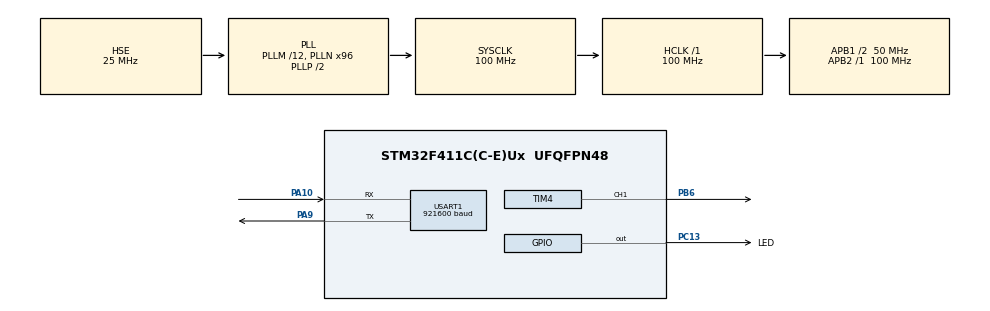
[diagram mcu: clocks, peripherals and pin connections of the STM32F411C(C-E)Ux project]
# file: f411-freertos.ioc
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Dma.Request0=TIM4_CH1
Dma.TIM4_CH1.0.Direction=DMA_PERIPH_TO_MEMORY
Dma.TIM4_CH1.0.FIFOMode=DMA_FIFOMODE_DISABLE
Dma.TIM4_CH1.0.Instance=DMA1_Stream0
Dma.TIM4_CH1.0.MemDataAlignment=DMA_MDATAALIGN_HALFWORD
Dma.TIM4_CH1.0.MemInc=DMA_MINC_ENABLE
Dma.TIM4_CH1.0.Mode=DMA_CIRCULAR
Dma.TIM4_CH1.0.PeriphDataAlignment=DMA_PDATAALIGN_HALFWORD
Dma.TIM4_CH1.0.PeriphInc=DMA_PINC_DISABLE
Dma.TIM4_CH1.0.Priority=DMA_PRIORITY_LOW
FREERTOS.Queues01=logQueue,16,uint132_t,0,Dynamic,NULL,NULL
FREERTOS.Tasks01=defaultTask,24,128,StartDefaultTask,Default,NULL,Dynamic,NULL,NULL;ledTask,8,128,StartLedTask,Default,NULL,Dynamic,NULL,NULL;logTask,8,128,StartLogTask,Default,NULL,Dynamic,NULL,NULL
FREERTOS.configGENERATE_RUN_TIME_STATS=1
FREERTOS.configRECORD_STACK_HIGH_ADDRESS=1
FREERTOS.configUSE_NEWLIB_REENTRANT=1
Mcu.Family=STM32F4
Mcu.Name=STM32F411C(C-E)Ux
Mcu.Package=UFQFPN48
Mcu.UserConstants=LED_CNT,125
NVIC.DMA1_Stream0_IRQn=true\:5\:0\:false\:false\:true\:true\:false\:true\:true
NVIC.PriorityGroup=NVIC_PRIORITYGROUP_4
NVIC.TIM1_TRG_COM_TIM11_IRQn=true\:15\:0\:false\:false\:true\:false\:false\:true\:true
NVIC.TimeBase=TIM1_TRG_COM_TIM11_IRQn
NVIC.TimeBaseIP=TIM11
PA10.Mode=Asynchronous
PA10.Signal=USART1_RX
PA13.Mode=Trace_Asynchronous_SW
PA13.Signal=SYS_JTMS-SWDIO
PA14.Mode=Trace_Asynchronous_SW
PA14.Signal=SYS_JTCK-SWCLK
PA9.Mode=Asynchronous
PA9.Signal=USART1_TX
PB3.Mode=Trace_Asynchronous_SW
PB3.Signal=SYS_JTDO-SWO
PB6.Signal=S_TIM4_CH1
PC13-ANTI_TAMP.GPIO_Label=LED
PC13-ANTI_TAMP.Signal=GPIO_Output
PH0\ -\ OSC_IN.Mode=HSE-External-Oscillator
PH0\ -\ OSC_IN.Signal=RCC_OSC_IN
PH1\ -\ OSC_OUT.Mode=HSE-External-Oscillator
PH1\ -\ OSC_OUT.Signal=RCC_OSC_OUT
ProjectManager.HeapSize=0x200
ProjectManager.StackSize=0x400
ProjectManager.TargetToolchain=STM32CubeIDE
RCC.48MHZClocksFreq_Value=50000000
RCC.AHBFreq_Value=100000000
RCC.APB1CLKDivider=RCC_HCLK_DIV2
RCC.APB1Freq_Value=50000000
RCC.APB1TimFreq_Value=100000000
RCC.APB2Freq_Value=100000000
RCC.APB2TimFreq_Value=100000000
RCC.CortexFreq_Value=100000000
RCC.HCLKFreq_Value=100000000
RCC.HSE_VALUE=25000000
RCC.HSI_VALUE=16000000
RCC.LSE_VALUE=32768
RCC.PLLM=12
RCC.PLLN=96
RCC.PLLSourceVirtual=RCC_PLLSOURCE_HSE
RCC.SYSCLKFreq_VALUE=100000000
RCC.SYSCLKSource=RCC_SYSCLKSOURCE_PLLCLK
RCC.VCOOutputFreq_Value=200000000
SH.S_TIM4_CH1.0=TIM4_CH1,PWM Generation1 CH1
TIM4.Channel-PWM\ Generation1\ CH1=TIM_CHANNEL_1
TIM4.Period=LED_CNT
USART1.BaudRate=921600
USART1.VirtualMode=VM_ASYNC
VP_FREERTOS_VS_CMSIS_V2.Mode=CMSIS_V2
VP_SYS_VS_tim11.Mode=TIM11
board=custom

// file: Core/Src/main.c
/* USER CODE BEGIN Header */
/**
 ******************************************************************************
 * @file           : main.c
 * @brief          : Main program body
 ******************************************************************************
 * @attention
 *
 * Copyright (c) 2024 Lars Boegild Thomsen <lbthomsen@gmail.com>
 * All rights reserved.
 *
 * This software is licensed under terms that can be found in the LICENSE file
 * in the root directory of this software component.
 * If no LICENSE file comes with this software, it is provided AS-IS.
 *
 ******************************************************************************
 */
/* USER CODE END Header */
#include "main.h"
#include "cmsis_os.h"

TIM_HandleTypeDef htim4;
DMA_HandleTypeDef hdma_tim4_ch1;

UART_HandleTypeDef huart1;

/* Definitions for defaultTask */
osThreadId_t defaultTaskHandle;
const osThreadAttr_t defaultTask_attributes = {
  .name = "defaultTask",
  .stack_size = 128 * 4,
  .priority = (osPriority_t) osPriorityNormal,
};
/* Definitions for ledTask */
osThreadId_t ledTaskHandle;
const osThreadAttr_t ledTask_attributes = {
  .name = "ledTask",
  .stack_size = 128 * 4,
  .priority = (osPriority_t) osPriorityLow,
};
/* Definitions for logTask */
osThreadId_t logTaskHandle;
const osThreadAttr_t logTask_attributes = {
  .name = "logTask",
  .stack_size = 128 * 4,
  .priority = (osPriority_t) osPriorityLow,
};
/* Definitions for logQueue */
osMessageQueueId_t logQueueHandle;
const osMessageQueueAttr_t logQueue_attributes = {
  .name = "logQueue"
};

void SystemClock_Config(void);
static void MX_GPIO_Init(void);
static void MX_DMA_Init(void);
static void MX_USART1_UART_Init(void);
static void MX_TIM4_Init(void);
void StartDefaultTask(void *argument);
void StartLedTask(void *argument);
void StartLogTask(void *argument);

/* USER CODE BEGIN 0 */

int _write(int fd, char *ptr, int len) {
    HAL_StatusTypeDef hstatus;

    if (fd == 1 || fd == 2) {
        hstatus = HAL_UART_Transmit(&huart1, (uint8_t*) ptr, len, HAL_MAX_DELAY);
        if (hstatus == HAL_OK)
            return len;
        else
            return -1;
    }
    return -1;
}

/* USER CODE END 0 */

int main(void)
{

  /* MCU Configuration--------------------------------------------------------*/

  /* Reset of all peripherals, Initializes the Flash interface and the Systick. */
  HAL_Init();

  /* Configure the system clock */
  SystemClock_Config();

  /* Initialize all configured peripherals */
  MX_GPIO_Init();
  MX_DMA_Init();
  MX_USART1_UART_Init();
  MX_TIM4_Init();
  /* USER CODE BEGIN 2 */

    DBG("\n\n\n\n--------\nStarting\n");

  /* USER CODE END 2 */

  /* Init scheduler */
  osKernelInitialize();

  /* Create the queue(s) */
  /* creation of logQueue */
  logQueueHandle = osMessageQueueNew (16, sizeof(uint132_t), &logQueue_attributes);

  /* Create the thread(s) */
  /* creation of defaultTask */
  defaultTaskHandle = osThreadNew(StartDefaultTask, NULL, &defaultTask_attributes);

  /* creation of ledTask */
  ledTaskHandle = osThreadNew(StartLedTask, NULL, &ledTask_attributes);

  /* creation of logTask */
  logTaskHandle = osThreadNew(StartLogTask, NULL, &logTask_attributes);

  /* Start scheduler */
  osKernelStart();

  /* We should never get here as control is now taken by the scheduler */
  /* Infinite loop */
    while (1)
    {

    }
}

void SystemClock_Config(void)
{
  RCC_OscInitTypeDef RCC_OscInitStruct = {0};
  RCC_ClkInitTypeDef RCC_ClkInitStruct = {0};

  /** Configure the main internal regulator output voltage
  */
  __HAL_RCC_PWR_CLK_ENABLE();
  __HAL_PWR_VOLTAGESCALING_CONFIG(PWR_REGULATOR_VOLTAGE_SCALE1);

  /** Initializes the RCC Oscillators according to the specified parameters
  * in the RCC_OscInitTypeDef structure.
  */
  RCC_OscInitStruct.OscillatorType = RCC_OSCILLATORTYPE_HSE;
  RCC_OscInitStruct.HSEState = RCC_HSE_ON;
  RCC_OscInitStruct.PLL.PLLState = RCC_PLL_ON;
  RCC_OscInitStruct.PLL.PLLSource = RCC_PLLSOURCE_HSE;
  RCC_OscInitStruct.PLL.PLLM = 12;
  RCC_OscInitStruct.PLL.PLLN = 96;
  RCC_OscInitStruct.PLL.PLLP = RCC_PLLP_DIV2;
  RCC_OscInitStruct.PLL.PLLQ = 4;
  if (HAL_RCC_OscConfig(&RCC_OscInitStruct) != HAL_OK)
  {
    Error_Handler();
  }

  /** Initializes the CPU, AHB and APB buses clocks
  */
  RCC_ClkInitStruct.ClockType = RCC_CLOCKTYPE_HCLK|RCC_CLOCKTYPE_SYSCLK
                              |RCC_CLOCKTYPE_PCLK1|RCC_CLOCKTYPE_PCLK2;
  RCC_ClkInitStruct.SYSCLKSource = RCC_SYSCLKSOURCE_PLLCLK;
  RCC_ClkInitStruct.AHBCLKDivider = RCC_SYSCLK_DIV1;
  RCC_ClkInitStruct.APB1CLKDivider = RCC_HCLK_DIV2;
  RCC_ClkInitStruct.APB2CLKDivider = RCC_HCLK_DIV1;

  if (HAL_RCC_ClockConfig(&RCC_ClkInitStruct, FLASH_LATENCY_3) != HAL_OK)
  {
    Error_Handler();
  }
}

static void MX_TIM4_Init(void)
{

  TIM_MasterConfigTypeDef sMasterConfig = {0};
  TIM_OC_InitTypeDef sConfigOC = {0};

  htim4.Instance = TIM4;
  htim4.Init.Prescaler = 0;
  htim4.Init.CounterMode = TIM_COUNTERMODE_UP;
  htim4.Init.Period = LED_CNT;
  htim4.Init.ClockDivision = TIM_CLOCKDIVISION_DIV1;
  htim4.Init.AutoReloadPreload = TIM_AUTORELOAD_PRELOAD_DISABLE;
  if (HAL_TIM_PWM_Init(&htim4) != HAL_OK)
  {
    Error_Handler();
  }
  sMasterConfig.MasterOutputTrigger = TIM_TRGO_RESET;
  sMasterConfig.MasterSlaveMode = TIM_MASTERSLAVEMODE_DISABLE;
  if (HAL_TIMEx_MasterConfigSynchronization(&htim4, &sMasterConfig) != HAL_OK)
  {
    Error_Handler();
  }
  sConfigOC.OCMode = TIM_OCMODE_PWM1;
  sConfigOC.Pulse = 0;
  sConfigOC.OCPolarity = TIM_OCPOLARITY_HIGH;
  sConfigOC.OCFastMode = TIM_OCFAST_DISABLE;
  if (HAL_TIM_PWM_ConfigChannel(&htim4, &sConfigOC, TIM_CHANNEL_1) != HAL_OK)
  {
    Error_Handler();
  }
  HAL_TIM_MspPostInit(&htim4);

}

static void MX_USART1_UART_Init(void)
{

  huart1.Instance = USART1;
  huart1.Init.BaudRate = 921600;
  huart1.Init.WordLength = UART_WORDLENGTH_8B;
  huart1.Init.StopBits = UART_STOPBITS_1;
  huart1.Init.Parity = UART_PARITY_NONE;
  huart1.Init.Mode = UART_MODE_TX_RX;
  huart1.Init.HwFlowCtl = UART_HWCONTROL_NONE;
  huart1.Init.OverSampling = UART_OVERSAMPLING_16;
  if (HAL_UART_Init(&huart1) != HAL_OK)
  {
    Error_Handler();
  }

}

static void MX_DMA_Init(void)
{

  /* DMA controller clock enable */
  __HAL_RCC_DMA1_CLK_ENABLE();

  /* DMA interrupt init */
  /* DMA1_Stream0_IRQn interrupt configuration */
  HAL_NVIC_SetPriority(DMA1_Stream0_IRQn, 5, 0);
  HAL_NVIC_EnableIRQ(DMA1_Stream0_IRQn);

}

static void MX_GPIO_Init(void)
{
  GPIO_InitTypeDef GPIO_InitStruct = {0};

  /* GPIO Ports Clock Enable */
  __HAL_RCC_GPIOC_CLK_ENABLE();
  __HAL_RCC_GPIOH_CLK_ENABLE();
  __HAL_RCC_GPIOA_CLK_ENABLE();
  __HAL_RCC_GPIOB_CLK_ENABLE();

  /*Configure GPIO pin Output Level */
  HAL_GPIO_WritePin(LED_GPIO_Port, LED_Pin, GPIO_PIN_RESET);

  /*Configure GPIO pin : LED_Pin */
  GPIO_InitStruct.Pin = LED_Pin;
  GPIO_InitStruct.Mode = GPIO_MODE_OUTPUT_PP;
  GPIO_InitStruct.Pull = GPIO_NOPULL;
  GPIO_InitStruct.Speed = GPIO_SPEED_FREQ_LOW;
  HAL_GPIO_Init(LED_GPIO_Port, &GPIO_InitStruct);

}

void StartDefaultTask(void *argument)
{
    for (;;) {
        osDelay(1);
    }
}

void StartLedTask(void *argument)
{
  /* USER CODE BEGIN StartLedTask */
    /* Infinite loop */
    for (;;) {
        HAL_GPIO_TogglePin(LED_GPIO_Port, LED_Pin);
        osDelay(500);
    }
  /* USER CODE END StartLedTask */
}

void StartLogTask(void *argument)
{
  /* USER CODE BEGIN StartLogTask */
  /* Infinite loop */
  for(;;) {

      // Assign delay based on message in queue
      status = osMessageQueueGet(logQueueHandle, &msg, NULL, 0);

      // If message was received, update delay
      if ( status == osOK )
      {
        delay = msg;
      }

    osDelay(1);
  }
  /* USER CODE END StartLogTask */
}

void HAL_TIM_PeriodElapsedCallback(TIM_HandleTypeDef *htim)
{
  if (htim->Instance == TIM11) {
    HAL_IncTick();
  }
}

void Error_Handler(void)
{
    __disable_irq();
    while (1)
    {
    }
}
